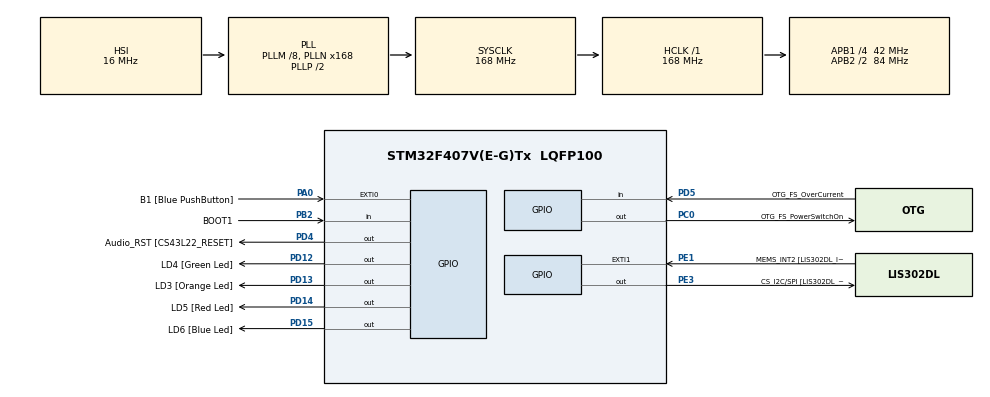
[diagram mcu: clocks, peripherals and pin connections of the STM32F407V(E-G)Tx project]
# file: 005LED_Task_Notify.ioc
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FREERTOS.Tasks01=defaultTask,24,128,StartDefaultTask,Default,NULL,Dynamic,NULL,NULL
Mcu.Family=STM32F4
Mcu.Name=STM32F407V(E-G)Tx
Mcu.Package=LQFP100
NVIC.PriorityGroup=NVIC_PRIORITYGROUP_4
NVIC.TIM4_IRQn=true\:15\:0\:false\:false\:true\:false\:false\:true\:true
NVIC.TimeBase=TIM4_IRQn
NVIC.TimeBaseIP=TIM4
PA0-WKUP.GPIO_Label=B1 [Blue PushButton]
PA0-WKUP.Signal=GPXTI0
PA10.GPIO_Label=OTG_FS_ID
PA10.GPIO_Mode=GPIO_MODE_AF_PP
PA10.GPIO_PuPd=GPIO_NOPULL
PA10.GPIO_Speed=GPIO_SPEED_FREQ_LOW
PA10.Signal=USB_OTG_FS_ID
PA11.GPIO_Label=OTG_FS_DM
PA11.GPIO_Mode=GPIO_MODE_AF_PP
PA11.GPIO_PuPd=GPIO_NOPULL
PA11.GPIO_Speed=GPIO_SPEED_FREQ_LOW
PA11.Signal=USB_OTG_FS_DM
PA12.GPIO_Label=OTG_FS_DP
PA12.GPIO_Mode=GPIO_MODE_AF_PP
PA12.GPIO_PuPd=GPIO_NOPULL
PA12.GPIO_Speed=GPIO_SPEED_FREQ_LOW
PA12.Signal=USB_OTG_FS_DP
PA13.GPIO_Label=SWDIO
PA13.Signal=SYS_JTMS-SWDIO
PA14.GPIO_Label=SWCLK
PA14.Signal=SYS_JTCK-SWCLK
PA4.GPIO_Label=I2S3_WS [CS43L22_LRCK]
PA4.GPIO_Mode=GPIO_MODE_AF_PP
PA4.GPIO_PuPd=GPIO_NOPULL
PA4.GPIO_Speed=GPIO_SPEED_FREQ_LOW
PA4.Signal=I2S3_WS
PA5.GPIO_Label=SPI1_SCK [LIS302DL_SCL/SPC]
PA5.GPIO_Mode=GPIO_MODE_AF_PP
PA5.GPIO_PuPd=GPIO_NOPULL
PA5.GPIO_Speed=GPIO_SPEED_FREQ_LOW
PA5.Signal=SPI1_SCK
PA6.GPIO_Label=SPI1_MISO [LIS302DL_SDO]
PA6.GPIO_Mode=GPIO_MODE_AF_PP
PA6.GPIO_PuPd=GPIO_NOPULL
PA6.GPIO_Speed=GPIO_SPEED_FREQ_LOW
PA6.Signal=SPI1_MISO
PA7.GPIO_Label=SPI1_MOSI [LIS302DL_SDA/SDI/SDO]
PA7.GPIO_Mode=GPIO_MODE_AF_PP
PA7.GPIO_PuPd=GPIO_NOPULL
PA7.GPIO_Speed=GPIO_SPEED_FREQ_LOW
PA7.Signal=SPI1_MOSI
PA9.GPIO_Label=VBUS_FS
PA9.GPIO_Mode=GPIO_MODE_INPUT
PA9.GPIO_PuPd=GPIO_NOPULL
PA9.Signal=USB_OTG_FS_VBUS
PB10.GPIO_Label=CLK_IN [MP45DT02_CLK]
PB10.GPIO_Mode=GPIO_MODE_AF_PP
PB10.GPIO_PuPd=GPIO_NOPULL
PB10.GPIO_Speed=GPIO_SPEED_FREQ_LOW
PB10.Signal=I2S2_CK
PB2.GPIO_Label=BOOT1
PB2.GPIO_Mode=GPIO_MODE_INPUT
PB2.GPIO_PuPd=GPIO_NOPULL
PB2.Signal=GPIO_Input
PB3.GPIO_Label=SWO
PB3.Signal=SYS_JTDO-SWO
PB6.GPIO_Label=Audio_SCL [CS43L22_SCL]
PB6.GPIO_Mode=GPIO_MODE_AF_OD
PB6.GPIO_PuPd=GPIO_NOPULL
PB6.GPIO_Speed=GPIO_SPEED_FREQ_LOW
PB6.Signal=I2C1_SCL
PB9.GPIO_Label=Audio_SDA [CS43L22_SDA]
PB9.GPIO_Mode=GPIO_MODE_AF_OD
PB9.GPIO_PuPd=GPIO_NOPULL
PB9.GPIO_Speed=GPIO_SPEED_FREQ_LOW
PB9.Signal=I2C1_SDA
PC0.GPIO_Label=OTG_FS_PowerSwitchOn
PC0.GPIO_PuPd=GPIO_NOPULL
PC0.GPIO_Speed=GPIO_SPEED_FREQ_LOW
PC0.PinState=GPIO_PIN_SET
PC0.Signal=GPIO_Output
PC10.GPIO_Label=I2S3_SCK [CS43L22_SCLK]
PC10.GPIO_Mode=GPIO_MODE_AF_PP
PC10.GPIO_PuPd=GPIO_NOPULL
PC10.GPIO_Speed=GPIO_SPEED_FREQ_LOW
PC10.Signal=I2S3_CK
PC12.GPIO_Label=I2S3_SD [CS43L22_SDIN]
PC12.GPIO_Mode=GPIO_MODE_AF_PP
PC12.GPIO_PuPd=GPIO_NOPULL
PC12.GPIO_Speed=GPIO_SPEED_FREQ_LOW
PC12.Signal=I2S3_SD
PC14-OSC32_IN.GPIO_Label=PC14-OSC32_IN
PC14-OSC32_IN.Signal=RCC_OSC32_IN
PC15-OSC32_OUT.GPIO_Label=PC15-OSC32_OUT
PC15-OSC32_OUT.Signal=RCC_OSC32_OUT
PC3.GPIO_Label=PDM_OUT [MP45DT02_DOUT]
PC3.GPIO_Mode=GPIO_MODE_AF_PP
PC3.GPIO_PuPd=GPIO_NOPULL
PC3.GPIO_Speed=GPIO_SPEED_FREQ_LOW
PC3.Signal=I2S2_SD
PC7.GPIO_Label=I2S3_MCK [CS43L22_MCLK]
PC7.GPIO_Mode=GPIO_MODE_AF_PP
PC7.GPIO_PuPd=GPIO_NOPULL
PC7.GPIO_Speed=GPIO_SPEED_FREQ_LOW
PC7.Signal=I2S3_MCK
PD12.GPIO_Label=LD4 [Green Led]
PD12.GPIO_PuPd=GPIO_NOPULL
PD12.GPIO_Speed=GPIO_SPEED_FREQ_LOW
PD12.Signal=GPIO_Output
PD13.GPIO_Label=LD3 [Orange Led]
PD13.GPIO_PuPd=GPIO_NOPULL
PD13.GPIO_Speed=GPIO_SPEED_FREQ_LOW
PD13.Signal=GPIO_Output
PD14.GPIO_Label=LD5 [Red Led]
PD14.GPIO_PuPd=GPIO_NOPULL
PD14.GPIO_Speed=GPIO_SPEED_FREQ_LOW
PD14.Signal=GPIO_Output
PD15.GPIO_Label=LD6 [Blue Led]
PD15.GPIO_PuPd=GPIO_NOPULL
PD15.GPIO_Speed=GPIO_SPEED_FREQ_LOW
PD15.Signal=GPIO_Output
PD4.GPIO_Label=Audio_RST [CS43L22_RESET]
PD4.GPIO_PuPd=GPIO_NOPULL
PD4.GPIO_Speed=GPIO_SPEED_FREQ_LOW
PD4.Signal=GPIO_Output
PD5.GPIO_Label=OTG_FS_OverCurrent
PD5.GPIO_Mode=GPIO_MODE_INPUT
PD5.GPIO_PuPd=GPIO_NOPULL
PD5.Signal=GPIO_Input
PE1.GPIO_Label=MEMS_INT2 [LIS302DL_INT2]
PE1.GPIO_ModeDefaultEXTI=GPIO_MODE_EVT_RISING
PE1.GPIO_PuPd=GPIO_NOPULL
PE1.Signal=GPXTI1
PE3.GPIO_Label=CS_I2C/SPI [LIS302DL_CS_I2C/SPI]
PE3.GPIO_PuPd=GPIO_NOPULL
PE3.GPIO_Speed=GPIO_SPEED_FREQ_LOW
PE3.Signal=GPIO_Output
PH0-OSC_IN.GPIO_Label=PH0-OSC_IN
PH0-OSC_IN.Signal=RCC_OSC_IN
PH1-OSC_OUT.GPIO_Label=PH1-OSC_OUT
PH1-OSC_OUT.Signal=RCC_OSC_OUT
ProjectManager.HeapSize=0x200
ProjectManager.StackSize=0x400
ProjectManager.TargetToolchain=STM32CubeIDE
RCC.48MHZClocksFreq_Value=48000000
RCC.AHBFreq_Value=168000000
RCC.APB1CLKDivider=RCC_HCLK_DIV4
RCC.APB1Freq_Value=42000000
RCC.APB1TimFreq_Value=84000000
RCC.APB2CLKDivider=RCC_HCLK_DIV2
RCC.APB2Freq_Value=84000000
RCC.APB2TimFreq_Value=168000000
RCC.CortexFreq_Value=168000000
RCC.HCLKFreq_Value=168000000
RCC.HSE_VALUE=8000000
RCC.HSI_VALUE=16000000
RCC.LSE_VALUE=32768
RCC.PLLM=8
RCC.PLLN=168
RCC.PLLQ=7
RCC.SYSCLKFreq_VALUE=168000000
RCC.SYSCLKSource=RCC_SYSCLKSOURCE_PLLCLK
RCC.VCOOutputFreq_Value=336000000
VP_FREERTOS_VS_CMSIS_V2.Mode=CMSIS_V2
VP_SYS_VS_tim4.Mode=TIM4
board=STM32F407G-DISC1

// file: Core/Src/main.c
/* USER CODE BEGIN Header */
/**
  ******************************************************************************
  * @file           : main.c
  * @brief          : Main program body
  ******************************************************************************
  * @attention
  *
  * Copyright (c) 2025 STMicroelectronics.
  * All rights reserved.
  *
  * This software is licensed under terms that can be found in the LICENSE file
  * in the root directory of this software component.
  * If no LICENSE file comes with this software, it is provided AS-IS.
  *
  ******************************************************************************
  */
/* USER CODE END Header */
#include "main.h"
#include "cmsis_os.h"

/* USER CODE BEGIN Includes */
#include <stdio.h>
#include <FreeRTOS.h>
#include <task.h>
#include <stdint.h>

/* USER CODE END Includes */

/* Definitions for defaultTask */
osThreadId_t defaultTaskHandle;
const osThreadAttr_t defaultTask_attributes = {
  .name = "defaultTask",
  .stack_size = 128 * 4,
  .priority = (osPriority_t) osPriorityNormal,
};
/* USER CODE BEGIN PV */
#define DWT_CTRL	(*(volatile uint32_t*)0xE0001000)
/* USER CODE END PV */

void SystemClock_Config(void);
static void MX_GPIO_Init(void);
void StartDefaultTask(void *argument);

/* USER CODE BEGIN PFP */

static void led_green_handler(void* parameters);
static void led_red_handler(void* parameters);
static void led_orange_handler(void* parameters);
static void button_handler(void* parameters);

extern void SEGGER_UART_init(uint32_t);

TaskHandle_t ledg_task_handle;
TaskHandle_t ledo_task_handle;
TaskHandle_t ledr_task_handle;
TaskHandle_t btn_task_handle;

TaskHandle_t volatile next_task_handle = NULL;

/* USER CODE END PFP */

int main(void)
{

  /* USER CODE BEGIN 1 */

	BaseType_t status;

  /* USER CODE END 1 */

  /* MCU Configuration--------------------------------------------------------*/

  /* Reset of all peripherals, Initializes the Flash interface and the Systick. */
  HAL_Init();

  /* Configure the system clock */
  SystemClock_Config();

  /* Initialize all configured peripherals */
  MX_GPIO_Init();
  /* USER CODE BEGIN 2 */

  SEGGER_UART_init(250000);

  //Enable the CYCCNT counter
  DWT_CTRL |= (1 << 0);

  SEGGER_SYSVIEW_Conf();

  status = xTaskCreate(led_green_handler, "LED_Green_Task", 200, NULL, 3, &ledg_task_handle);

  configASSERT(status = pdPASS);

  next_task_handle = ledg_task_handle;

  status = xTaskCreate(led_red_handler, "LED_Red_Task", 200, NULL, 2, &ledr_task_handle);

  configASSERT(status = pdPASS);

  status = xTaskCreate(led_orange_handler, "LED_Orange_Task", 200, NULL, 1, &ledo_task_handle);

  configASSERT(status = pdPASS);

  status = xTaskCreate(button_handler, "Button_Task", 200, NULL, 4, &btn_task_handle);

  configASSERT(status = pdPASS);

  // start the freeRTOS scheduler
  vTaskStartScheduler();

  //if the control comes here then the launch of the scheduleer has failed due to insufficient memory in
  // the heap

  /* USER CODE END 2 */

  /* Init scheduler */
  osKernelInitialize();

  /* Create the thread(s) */
  /* creation of defaultTask */
  defaultTaskHandle = osThreadNew(StartDefaultTask, NULL, &defaultTask_attributes);

  /* Start scheduler */
  osKernelStart();

  /* We should never get here as control is now taken by the scheduler */

  /* Infinite loop */
  while (1)
  {

  }
}

void SystemClock_Config(void)
{
  RCC_OscInitTypeDef RCC_OscInitStruct = {0};
  RCC_ClkInitTypeDef RCC_ClkInitStruct = {0};

  /** Configure the main internal regulator output voltage
  */
  __HAL_RCC_PWR_CLK_ENABLE();
  __HAL_PWR_VOLTAGESCALING_CONFIG(PWR_REGULATOR_VOLTAGE_SCALE1);

  /** Initializes the RCC Oscillators according to the specified parameters
  * in the RCC_OscInitTypeDef structure.
  */
  RCC_OscInitStruct.OscillatorType = RCC_OSCILLATORTYPE_HSI;
  RCC_OscInitStruct.HSIState = RCC_HSI_ON;
  RCC_OscInitStruct.HSICalibrationValue = RCC_HSICALIBRATION_DEFAULT;
  RCC_OscInitStruct.PLL.PLLState = RCC_PLL_ON;
  RCC_OscInitStruct.PLL.PLLSource = RCC_PLLSOURCE_HSI;
  RCC_OscInitStruct.PLL.PLLM = 8;
  RCC_OscInitStruct.PLL.PLLN = 168;
  RCC_OscInitStruct.PLL.PLLP = RCC_PLLP_DIV2;
  RCC_OscInitStruct.PLL.PLLQ = 7;
  if (HAL_RCC_OscConfig(&RCC_OscInitStruct) != HAL_OK)
  {
    Error_Handler();
  }

  /** Initializes the CPU, AHB and APB buses clocks
  */
  RCC_ClkInitStruct.ClockType = RCC_CLOCKTYPE_HCLK|RCC_CLOCKTYPE_SYSCLK
                              |RCC_CLOCKTYPE_PCLK1|RCC_CLOCKTYPE_PCLK2;
  RCC_ClkInitStruct.SYSCLKSource = RCC_SYSCLKSOURCE_PLLCLK;
  RCC_ClkInitStruct.AHBCLKDivider = RCC_SYSCLK_DIV1;
  RCC_ClkInitStruct.APB1CLKDivider = RCC_HCLK_DIV4;
  RCC_ClkInitStruct.APB2CLKDivider = RCC_HCLK_DIV2;

  if (HAL_RCC_ClockConfig(&RCC_ClkInitStruct, FLASH_LATENCY_5) != HAL_OK)
  {
    Error_Handler();
  }
}

static void MX_GPIO_Init(void)
{
  GPIO_InitTypeDef GPIO_InitStruct = {0};

  /* GPIO Ports Clock Enable */
  __HAL_RCC_GPIOE_CLK_ENABLE();
  __HAL_RCC_GPIOC_CLK_ENABLE();
  __HAL_RCC_GPIOH_CLK_ENABLE();
  __HAL_RCC_GPIOA_CLK_ENABLE();
  __HAL_RCC_GPIOB_CLK_ENABLE();
  __HAL_RCC_GPIOD_CLK_ENABLE();

  /*Configure GPIO pin Output Level */
  HAL_GPIO_WritePin(CS_I2C_SPI_GPIO_Port, CS_I2C_SPI_Pin, GPIO_PIN_RESET);

  /*Configure GPIO pin Output Level */
  HAL_GPIO_WritePin(OTG_FS_PowerSwitchOn_GPIO_Port, OTG_FS_PowerSwitchOn_Pin, GPIO_PIN_SET);

  /*Configure GPIO pin Output Level */
  HAL_GPIO_WritePin(GPIOD, LD4_Pin|LD3_Pin|LD5_Pin|LD6_Pin
                          |Audio_RST_Pin, GPIO_PIN_RESET);

  /*Configure GPIO pin : CS_I2C_SPI_Pin */
  GPIO_InitStruct.Pin = CS_I2C_SPI_Pin;
  GPIO_InitStruct.Mode = GPIO_MODE_OUTPUT_PP;
  GPIO_InitStruct.Pull = GPIO_NOPULL;
  GPIO_InitStruct.Speed = GPIO_SPEED_FREQ_LOW;
  HAL_GPIO_Init(CS_I2C_SPI_GPIO_Port, &GPIO_InitStruct);

  /*Configure GPIO pin : OTG_FS_PowerSwitchOn_Pin */
  GPIO_InitStruct.Pin = OTG_FS_PowerSwitchOn_Pin;
  GPIO_InitStruct.Mode = GPIO_MODE_OUTPUT_PP;
  GPIO_InitStruct.Pull = GPIO_NOPULL;
  GPIO_InitStruct.Speed = GPIO_SPEED_FREQ_LOW;
  HAL_GPIO_Init(OTG_FS_PowerSwitchOn_GPIO_Port, &GPIO_InitStruct);

  /*Configure GPIO pin : PDM_OUT_Pin */
  GPIO_InitStruct.Pin = PDM_OUT_Pin;
  GPIO_InitStruct.Mode = GPIO_MODE_AF_PP;
  GPIO_InitStruct.Pull = GPIO_NOPULL;
  GPIO_InitStruct.Speed = GPIO_SPEED_FREQ_LOW;
  GPIO_InitStruct.Alternate = GPIO_AF5_SPI2;
  HAL_GPIO_Init(PDM_OUT_GPIO_Port, &GPIO_InitStruct);

  /*Configure GPIO pin : B1_Pin */
  GPIO_InitStruct.Pin = B1_Pin;
  GPIO_InitStruct.Mode = GPIO_MODE_IT_RISING;
  GPIO_InitStruct.Pull = GPIO_NOPULL;
  HAL_GPIO_Init(B1_GPIO_Port, &GPIO_InitStruct);

  /*Configure GPIO pin : I2S3_WS_Pin */
  GPIO_InitStruct.Pin = I2S3_WS_Pin;
  GPIO_InitStruct.Mode = GPIO_MODE_AF_PP;
  GPIO_InitStruct.Pull = GPIO_NOPULL;
  GPIO_InitStruct.Speed = GPIO_SPEED_FREQ_LOW;
  GPIO_InitStruct.Alternate = GPIO_AF6_SPI3;
  HAL_GPIO_Init(I2S3_WS_GPIO_Port, &GPIO_InitStruct);

  /*Configure GPIO pins : SPI1_SCK_Pin SPI1_MISO_Pin SPI1_MOSI_Pin */
  GPIO_InitStruct.Pin = SPI1_SCK_Pin|SPI1_MISO_Pin|SPI1_MOSI_Pin;
  GPIO_InitStruct.Mode = GPIO_MODE_AF_PP;
  GPIO_InitStruct.Pull = GPIO_NOPULL;
  GPIO_InitStruct.Speed = GPIO_SPEED_FREQ_LOW;
  GPIO_InitStruct.Alternate = GPIO_AF5_SPI1;
  HAL_GPIO_Init(GPIOA, &GPIO_InitStruct);

  /*Configure GPIO pin : BOOT1_Pin */
  GPIO_InitStruct.Pin = BOOT1_Pin;
  GPIO_InitStruct.Mode = GPIO_MODE_INPUT;
  GPIO_InitStruct.Pull = GPIO_NOPULL;
  HAL_GPIO_Init(BOOT1_GPIO_Port, &GPIO_InitStruct);

  /*Configure GPIO pin : CLK_IN_Pin */
  GPIO_InitStruct.Pin = CLK_IN_Pin;
  GPIO_InitStruct.Mode = GPIO_MODE_AF_PP;
  GPIO_InitStruct.Pull = GPIO_NOPULL;
  GPIO_InitStruct.Speed = GPIO_SPEED_FREQ_LOW;
  GPIO_InitStruct.Alternate = GPIO_AF5_SPI2;
  HAL_GPIO_Init(CLK_IN_GPIO_Port, &GPIO_InitStruct);

  /*Configure GPIO pins : LD4_Pin LD3_Pin LD5_Pin LD6_Pin
                           Audio_RST_Pin */
  GPIO_InitStruct.Pin = LD4_Pin|LD3_Pin|LD5_Pin|LD6_Pin
                          |Audio_RST_Pin;
  GPIO_InitStruct.Mode = GPIO_MODE_OUTPUT_PP;
  GPIO_InitStruct.Pull = GPIO_NOPULL;
  GPIO_InitStruct.Speed = GPIO_SPEED_FREQ_LOW;
  HAL_GPIO_Init(GPIOD, &GPIO_InitStruct);

  /*Configure GPIO pins : I2S3_MCK_Pin I2S3_SCK_Pin I2S3_SD_Pin */
  GPIO_InitStruct.Pin = I2S3_MCK_Pin|I2S3_SCK_Pin|I2S3_SD_Pin;
  GPIO_InitStruct.Mode = GPIO_MODE_AF_PP;
  GPIO_InitStruct.Pull = GPIO_NOPULL;
  GPIO_InitStruct.Speed = GPIO_SPEED_FREQ_LOW;
  GPIO_InitStruct.Alternate = GPIO_AF6_SPI3;
  HAL_GPIO_Init(GPIOC, &GPIO_InitStruct);

  /*Configure GPIO pin : VBUS_FS_Pin */
  GPIO_InitStruct.Pin = VBUS_FS_Pin;
  GPIO_InitStruct.Mode = GPIO_MODE_INPUT;
  GPIO_InitStruct.Pull = GPIO_NOPULL;
  HAL_GPIO_Init(VBUS_FS_GPIO_Port, &GPIO_InitStruct);

  /*Configure GPIO pins : OTG_FS_ID_Pin OTG_FS_DM_Pin OTG_FS_DP_Pin */
  GPIO_InitStruct.Pin = OTG_FS_ID_Pin|OTG_FS_DM_Pin|OTG_FS_DP_Pin;
  GPIO_InitStruct.Mode = GPIO_MODE_AF_PP;
  GPIO_InitStruct.Pull = GPIO_NOPULL;
  GPIO_InitStruct.Speed = GPIO_SPEED_FREQ_LOW;
  GPIO_InitStruct.Alternate = GPIO_AF10_OTG_FS;
  HAL_GPIO_Init(GPIOA, &GPIO_InitStruct);

  /*Configure GPIO pin : OTG_FS_OverCurrent_Pin */
  GPIO_InitStruct.Pin = OTG_FS_OverCurrent_Pin;
  GPIO_InitStruct.Mode = GPIO_MODE_INPUT;
  GPIO_InitStruct.Pull = GPIO_NOPULL;
  HAL_GPIO_Init(OTG_FS_OverCurrent_GPIO_Port, &GPIO_InitStruct);

  /*Configure GPIO pins : Audio_SCL_Pin Audio_SDA_Pin */
  GPIO_InitStruct.Pin = Audio_SCL_Pin|Audio_SDA_Pin;
  GPIO_InitStruct.Mode = GPIO_MODE_AF_OD;
  GPIO_InitStruct.Pull = GPIO_NOPULL;
  GPIO_InitStruct.Speed = GPIO_SPEED_FREQ_LOW;
  GPIO_InitStruct.Alternate = GPIO_AF4_I2C1;
  HAL_GPIO_Init(GPIOB, &GPIO_InitStruct);

  /*Configure GPIO pin : MEMS_INT2_Pin */
  GPIO_InitStruct.Pin = MEMS_INT2_Pin;
  GPIO_InitStruct.Mode = GPIO_MODE_EVT_RISING;
  GPIO_InitStruct.Pull = GPIO_NOPULL;
  HAL_GPIO_Init(MEMS_INT2_GPIO_Port, &GPIO_InitStruct);

}

/* USER CODE BEGIN 4 */
static void led_green_handler(void* parameters)
{

	BaseType_t status;

	while(1)
	{
		SEGGER_SYSVIEW_PrintfTarget("Toggling green LED");
		HAL_GPIO_TogglePin(GPIOD, LD4_Pin);
		status = xTaskNotifyWait(0, 0, NULL, pdMS_TO_TICKS(1000));

		if(status == pdTRUE)
		{
			vTaskSuspendAll();
			next_task_handle = ledo_task_handle;
			xTaskResumeAll();
			HAL_GPIO_WritePin(GPIOD, LD4_Pin, GPIO_PIN_SET);
			SEGGER_SYSVIEW_PrintfTarget("suspend green LED task");
			vTaskSuspend(NULL);
		}

	}

}

static void led_red_handler(void* parameters)
{
	BaseType_t status;

	while(1)
	{
		SEGGER_SYSVIEW_PrintfTarget("Toggling red LED");
		HAL_GPIO_TogglePin(GPIOD, LD5_Pin);
		status = xTaskNotifyWait(0, 0, NULL, pdMS_TO_TICKS(400));

		if(status == pdTRUE)
		{
			vTaskSuspendAll();
			next_task_handle = ledg_task_handle;
			xTaskResumeAll();
			HAL_GPIO_WritePin(GPIOD, LD5_Pin, GPIO_PIN_SET);
			SEGGER_SYSVIEW_PrintfTarget("suspend red LED task");
			vTaskSuspend(NULL);
		}

	}

}

static void led_orange_handler(void* parameters)
{
	BaseType_t status;

	while(1)
	{
		SEGGER_SYSVIEW_PrintfTarget("Toggling orange LED");
		HAL_GPIO_TogglePin(GPIOD, LD3_Pin);
		status = xTaskNotifyWait(0, 0, NULL, pdMS_TO_TICKS(800));

		if(status == pdTRUE)
		{
			vTaskSuspendAll();
			next_task_handle = ledr_task_handle;
			xTaskResumeAll();
			HAL_GPIO_WritePin(GPIOD, LD3_Pin, GPIO_PIN_SET);
			SEGGER_SYSVIEW_PrintfTarget("suspend orange LED task");
			vTaskSuspend(NULL);
		}
	}

}

static void button_handler(void* parameters)
{
	uint8_t btn_read = 0;
	uint8_t prev_read = 0;
	static uint8_t btn_count = 0;

	while(1)
	{
		btn_read = HAL_GPIO_ReadPin(GPIOA, GPIO_PIN_0);

		if(btn_read)
		{
			if(! prev_read)
			{
				xTaskNotify(next_task_handle,0,eNoAction);
				btn_count++;
			}
		}

		if(btn_count == 4)
		{
			vTaskResume(ledg_task_handle);
			vTaskResume(ledo_task_handle);
			vTaskResume(ledr_task_handle);
			btn_count = 0;
		}

		prev_read = btn_read;
		vTaskDelay(pdMS_TO_TICKS(10));

		SEGGER_SYSVIEW_PrintfTarget("Button pressed");
	}
}

/* USER CODE END 4 */

void StartDefaultTask(void *argument)
{
  for(;;)
  {
    osDelay(1);
  }
}

void HAL_TIM_PeriodElapsedCallback(TIM_HandleTypeDef *htim)
{
  if (htim->Instance == TIM4)
  {
    HAL_IncTick();
  }
}

void Error_Handler(void)
{
  __disable_irq();
  while (1)
  {
  }
}
